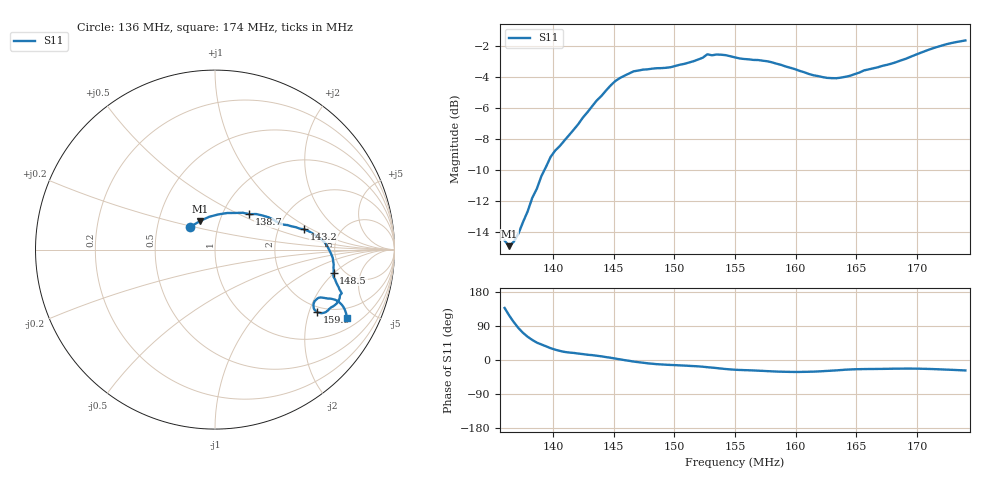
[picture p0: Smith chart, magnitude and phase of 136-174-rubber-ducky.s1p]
# HZ S RI R 50
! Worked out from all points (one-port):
!   101 points, 136 MHz to 174 MHz, reference 50 ohm
!   lowest |S11| = -14.9 dB at 136.4 MHz (marker M1), VSWR 1.44, Z = 40.4 + j13.3 ohm
!   |S11| at or under -10 dB: start of sweep to 139.3 MHz
!   S11 on the Smith chart (normalised r, x): 136 MHz: 0.74, +0.19; 138.7 MHz: 1.34, +0.57; 143.2 MHz: 2.77, +0.84; 148.5 MHz: 4.17, -1.95; 159.9 MHz: 1.80, -2.28; 174 MHz: 1.45, -3.52
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1.36e8  -0.1376 0.1268
1.3638e8  -0.0824 0.1596
1.3714e8  0.0195 0.1962
1.3752e8  0.0681 0.2038
1.3828e8  0.1549 0.2053
1.3866e8  0.1918 0.1975
1.3904e8  0.2288 0.1981
1.398e8  0.2988 0.1801
1.4094e8  0.3669 0.1434
1.4322e8  0.4951 0.1131
1.4474e8  0.5891 0.0613
1.455e8  0.6255 0.0194
1.4664e8  0.6563 -0.0473
1.4854e8  0.6612 -0.128
1.5044e8  0.6701 -0.1686
1.5196e8  0.6879 -0.2072
1.5272e8  0.7062 -0.2433
1.5424e8  0.6787 -0.2999
1.55e8  0.6577 -0.3166
1.5804e8  0.61 -0.3509
1.5994e8  0.5701 -0.3498
1.6108e8  0.5531 -0.3329
1.6222e8  0.5485 -0.311
1.6336e8  0.5551 -0.2875
1.645e8  0.5774 -0.2688
1.6944e8  0.6754 -0.2824
1.7172e8  0.7191 -0.3263
1.74e8  0.7337 -0.383
